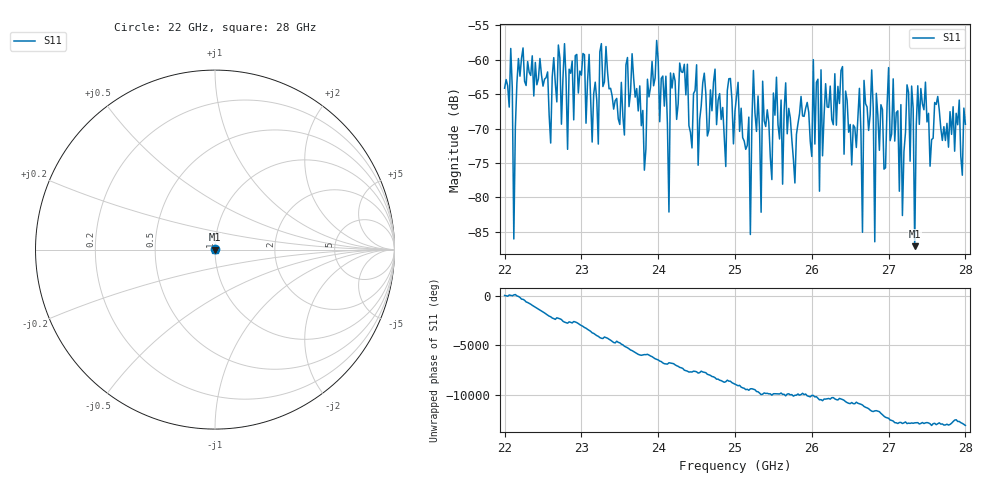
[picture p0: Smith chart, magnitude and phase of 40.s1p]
#  HZ  S  RI  R  50.00
! Rohde & Schwarz ZVA40 4Ports - Version 3.90 - 1145.1110k42 SN: 100403
! Date: 2023-10-04 07:57:58
! Measurement: S12
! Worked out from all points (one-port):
!   301 points, 22 GHz to 28 GHz, reference 50 ohm
!   lowest |S11| = -87.1 dB at 27.34 GHz (marker M1), VSWR 1.00, Z = 50 + j0.00424 ohm
!   |S11| at or under -10 dB: start of sweep to end of sweep
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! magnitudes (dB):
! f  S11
! 22 GHz  -64.1
! 22.08 GHz  -58.4
! 22.12 GHz  -86.1
! 22.18 GHz  -59.8
! 22.76 GHz  -62.6
! 23.5 GHz  -69.4
! 23.66 GHz  -59.1
! 23.82 GHz  -76.1
! 23.98 GHz  -57.2
! 24.14 GHz  -82.1
! 24.16 GHz  -61.9
! 24.26 GHz  -66.4
! 25 GHz  -67.4
! 25.76 GHz  -74.4
! 26.5 GHz  -69.4
! 26.62 GHz  -64.2
! 26.66 GHz  -85.1
! 26.68 GHz  -63.0
! 26.78 GHz  -61.5
! 26.82 GHz  -86.5
! 26.84 GHz  -64.9
! 26.96 GHz  -75.7
! 27 GHz  -61.1
! 27.18 GHz  -82.6
! 27.26 GHz  -64.7
! 27.34 GHz  -87.1
! 27.38 GHz  -63.8
! 28 GHz  -69.4
